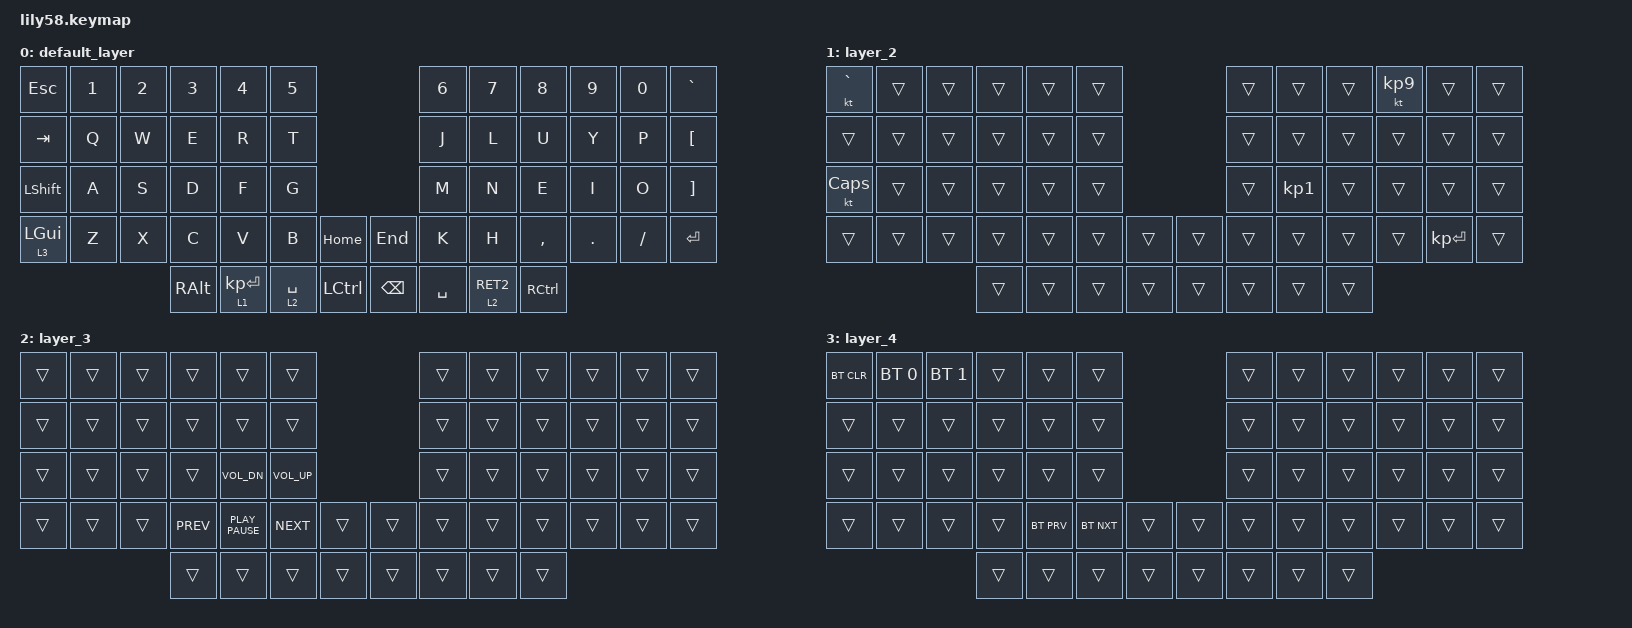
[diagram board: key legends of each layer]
/*
 * Copyright (c) 2020 The ZMK Contributors
 *
 * SPDX-License-Identifier: MIT
 */

#include "swe_keys.h"
#include <behaviors.dtsi>
#include <dt-bindings/zmk/bt.h>
#include <dt-bindings/zmk/keys.h>

#define DEFAULT     0
#define QWERTY      1
#define GAMING      2
#define SYMBOLS_ENG 3
#define SYMBOLS_SWE 4
#define FUNC        5
#define NUMBER      6
#define SETTINGS    7

/ {
    behaviors {
        td0: tap_dance_0 {
            compatible = "zmk,behavior-tap-dance";
            label = "TAP_DANCE_0";
            #binding-cells = <0>;
            tapping-term-ms = <300>;
            bindings = <&kp LEFT_ALT>, <&kp LGUI>;
        };
    };

    keymap {
        compatible = "zmk,keymap";

        default_layer {
            bindings = <
&kp ESC         &kp N1  &kp N2  &kp N3         &kp N4          &kp N5                                   &kp N6     &kp N7      &kp N8     &kp N9   &kp N0     &kp GRAVE
&kp TAB         &kp Q   &kp W   &kp E          &kp R           &kp T                                    &kp J      &kp L       &kp U      &kp Y    &kp P      &kp LEFT_BRACKET
&kp LSHIFT      &kp A   &kp S   &kp D          &kp F           &kp G                                    &kp M      &kp N       &kp E      &kp I    &kp O      &kp RIGHT_BRACKET
&lt 3 LEFT_GUI  &kp Z   &kp X   &kp C          &kp V           &kp B        &kp HOME     &kp END        &kp K      &kp H       &kp COMMA  &kp DOT  &kp SLASH  &kp ENTER
                                &kp RIGHT_ALT  &lt 1 KP_ENTER  &lt 2 SPACE  &kp LCTRL    &kp BACKSPACE  &kp SPACE  &lt 2 RET2  &kp RCTRL
            >;
        };

        layer_2 {
            bindings = <
&kt GRAVE     &trans  &trans  &trans  &trans  &trans                    &trans  &trans           &trans  &kt KP_NUMBER_9  &trans        &trans
&trans        &trans  &trans  &trans  &trans  &trans                    &trans  &trans           &trans  &trans           &trans        &trans
&kt CAPSLOCK  &trans  &trans  &trans  &trans  &trans                    &trans  &kp KP_NUMBER_1  &trans  &trans           &trans        &trans
&trans        &trans  &trans  &trans  &trans  &trans  &trans    &trans  &trans  &trans           &trans  &trans           &kp KP_ENTER  &trans
                              &trans  &trans  &trans  &trans    &trans  &trans  &trans           &trans
            >;
        };

        layer_3 {
            bindings = <
&trans  &trans  &trans  &trans      &trans            &trans                          &trans  &trans  &trans  &trans  &trans  &trans
&trans  &trans  &trans  &trans      &trans            &trans                          &trans  &trans  &trans  &trans  &trans  &trans
&trans  &trans  &trans  &trans      &kp K_VOL_DN      &kp K_VOL_UP                    &trans  &trans  &trans  &trans  &trans  &trans
&trans  &trans  &trans  &kp K_PREV  &kp K_PLAY_PAUSE  &kp K_NEXT    &trans    &trans  &trans  &trans  &trans  &trans  &trans  &trans
                        &trans      &trans            &trans        &trans    &trans  &trans  &trans  &trans
            >;
        };

        layer_4 {
            bindings = <
&bt BT_CLR  &bt BT_SEL 0  &bt BT_SEL 1  &trans  &trans      &trans                        &trans  &trans  &trans  &trans  &trans  &trans
&trans      &trans        &trans        &trans  &trans      &trans                        &trans  &trans  &trans  &trans  &trans  &trans
&trans      &trans        &trans        &trans  &trans      &trans                        &trans  &trans  &trans  &trans  &trans  &trans
&trans      &trans        &trans        &trans  &bt BT_PRV  &bt BT_NXT  &trans    &trans  &trans  &trans  &trans  &trans  &trans  &trans
                                        &trans  &trans      &trans      &trans    &trans  &trans  &trans  &trans
            >;
        };
    };
};
